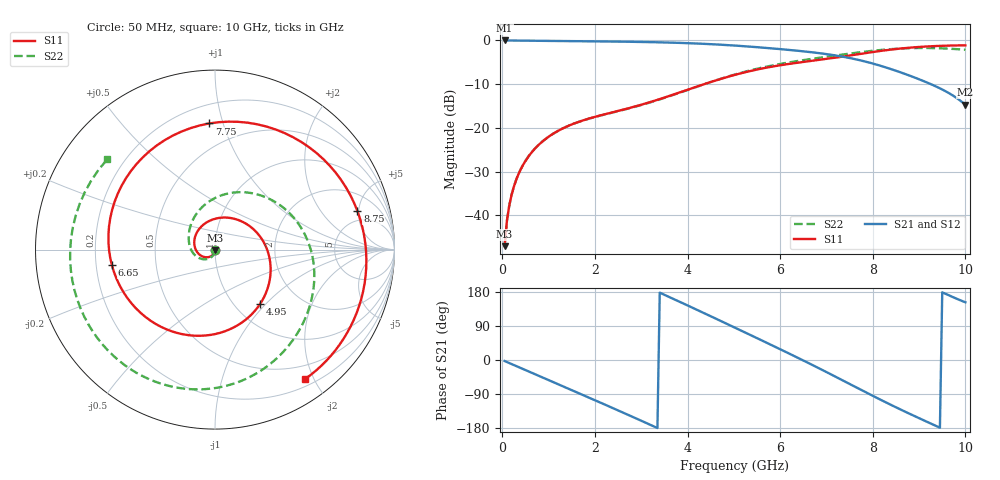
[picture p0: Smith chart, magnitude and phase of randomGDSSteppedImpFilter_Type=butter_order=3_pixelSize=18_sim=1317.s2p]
! freq	dB(S11)	phase(S11)	dB(S12)	phase(S12)
!  dB(S21)	phase(S21)	dB(S22)	phase(S22)
!S-par simulation data
#  GHz  S  DB  R 50
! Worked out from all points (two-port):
!   200 points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, 50 MHz to 10 GHz, reference 50 ohm
!   highest |S21| = -0.01 dB at 50 MHz (marker M1); lowest = -14.7 dB at 10 GHz (marker M2)
!   |S21| within 3 dB of the highest: start of sweep to 6.916 GHz
!   lowest |S11| = -47.1 dB at 50 MHz (marker M3), VSWR 1.01, Z = 50 - j0.443 ohm
!   |S11| at or under -10 dB: start of sweep to 4.36 GHz
!   |S22| runs from -47.1 to -1.7 dB; largest |S21 - S12| = 0
!   S11 on the Smith chart (normalised r, x): 50 MHz: 1.00, -0.01; 4.95 GHz: 1.29, -0.93; 6.65 GHz: 0.27, -0.07; 7.75 GHz: 0.32, +0.90; 8.75 GHz: 3.67, +4.84; 10 GHz: 0.30, -1.88
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0.05  -47.07 -90.0  -0.01 -2.7  -0.01 -2.7  -47.05 -89.4
0.1  -41.25 -93.9  -0.01 -5.4  -0.01 -5.4  -41.24 -92.6
0.2  -35.36 -101.0  -0.02 -10.7  -0.02 -10.7  -35.34 -98.4
0.5  -27.57 -120.1  -0.04 -26.6  -0.04 -26.6  -27.55 -113.5
1.15  -21.01 -160.3  -0.11 -61.0  -0.11 -61.0  -21.02 -143.8
1.75  -18.27 161.4  -0.17 -92.8  -0.17 -92.8  -18.29 -169.6
2.2  -16.93 131.4  -0.23 -116.8  -0.23 -116.8  -16.97 172.2
2.65  -15.72 100.4  -0.29 -141.1  -0.29 -141.1  -15.79 154.6
3.4  -13.42 48.9  -0.43 177.7  -0.43 177.7  -13.49 124.0
4.25  -10.39 -6.3  -0.73 129.8  -0.73 129.8  -10.41 84.3
4.95  -8.09 -50.6  -1.13 89.6  -1.13 89.6  -8.01 49.0
5.05  -7.80 -57.0  -1.19 83.8  -1.19 83.8  -7.71 43.9
5.9  -5.86 -114.1  -1.89 34.4  -1.89 34.4  -5.58 2.7
6.65  -4.72 -171.5  -2.66 -10.3  -2.66 -10.3  -4.27 -29.8
6.7  -4.65 -175.6  -2.72 -13.4  -2.72 -13.4  -4.19 -31.9
7.2  -3.94 141.3  -3.44 -44.3  -3.44 -44.3  -3.44 -51.9
7.75  -3.06 92.7  -4.60 -78.9  -4.60 -78.9  -2.67 -74.5
8.35  -2.15 43.6  -6.40 -115.9  -6.40 -115.9  -2.02 -101.7
8.75  -1.70 15.1  -7.87 -139.3  -7.87 -139.3  -1.79 -122.3
9.5  -1.23 -29.5  -11.22 178.6  -11.22 178.6  -1.82 -171.7
9.75  -1.15 -42.5  -12.74 164.9  -12.74 164.9  -1.95 166.3
10  -1.12 -55.1  -14.72 152.3  -14.72 152.3  -2.12 140.1
